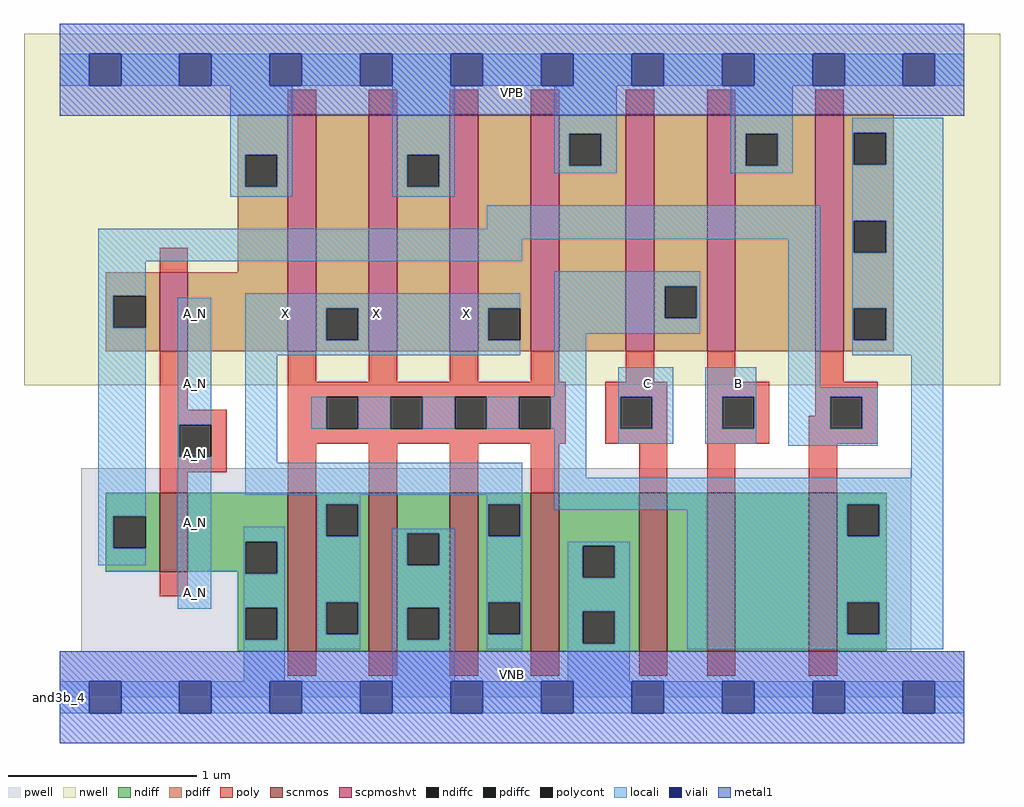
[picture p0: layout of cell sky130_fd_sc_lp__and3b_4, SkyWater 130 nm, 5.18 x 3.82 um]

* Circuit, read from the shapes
.subckt sky130_fd_sc_lp__and3b_4 A_N B C VGND VNB VPB VPWR X
XM1 VGND A_N n1 VNB sky130_fd_pr__nfet_01v8 w=0.42 l=0.15
XM2 X n2 VGND VNB sky130_fd_pr__nfet_01v8 w=0.84 l=0.15 m=4
XM3 n3 C VGND VNB sky130_fd_pr__nfet_01v8 w=0.84 l=0.15
XM4 n4 B n3 VNB sky130_fd_pr__nfet_01v8 w=0.84 l=0.15
XM5 n2 n1 n4 VNB sky130_fd_pr__nfet_01v8 w=0.84 l=0.15
XM6 VPWR A_N n1 VPB sky130_fd_pr__pfet_01v8_hvt w=0.42 l=0.15
XM7 X n2 VPWR VPB sky130_fd_pr__pfet_01v8_hvt w=1.26 l=0.15 m=4
XM8 n2 C VPWR VPB sky130_fd_pr__pfet_01v8_hvt w=1.26 l=0.15
XM9 VPWR B n2 VPB sky130_fd_pr__pfet_01v8_hvt w=1.26 l=0.15
XM10 n2 n1 VPWR VPB sky130_fd_pr__pfet_01v8_hvt w=1.26 l=0.15
.ends

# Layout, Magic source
magic
tech sky130A
magscale 1 2
<< nwell >>
rect -38 331 998 704
<< pwell >>
rect 23 49 904 243
rect 0 0 960 49
<< scnmos >>
rect 106 133 136 217
rect 242 49 272 217
rect 328 49 358 217
rect 414 49 444 217
rect 500 49 530 217
rect 615 49 645 217
rect 687 49 717 217
rect 795 49 825 217
<< scpmoshvt >>
rect 106 367 136 451
rect 242 367 272 619
rect 328 367 358 619
rect 414 367 444 619
rect 500 367 530 619
rect 601 367 631 619
rect 687 367 717 619
rect 802 367 832 619
<< ndiff >>
rect 49 192 106 217
rect 49 158 57 192
rect 91 158 106 192
rect 49 133 106 158
rect 136 165 242 217
rect 136 133 197 165
rect 189 131 197 133
rect 231 131 242 165
rect 189 95 242 131
rect 189 61 197 95
rect 231 61 242 95
rect 189 49 242 61
rect 272 205 328 217
rect 272 171 283 205
rect 317 171 328 205
rect 272 101 328 171
rect 272 67 283 101
rect 317 67 328 101
rect 272 49 328 67
rect 358 174 414 217
rect 358 140 369 174
rect 403 140 414 174
rect 358 95 414 140
rect 358 61 369 95
rect 403 61 414 95
rect 358 49 414 61
rect 444 205 500 217
rect 444 171 455 205
rect 489 171 500 205
rect 444 101 500 171
rect 444 67 455 101
rect 489 67 500 101
rect 444 49 500 67
rect 530 161 615 217
rect 530 127 555 161
rect 589 127 615 161
rect 530 91 615 127
rect 530 57 555 91
rect 589 57 615 91
rect 530 49 615 57
rect 645 49 687 217
rect 717 49 795 217
rect 825 205 878 217
rect 825 171 836 205
rect 870 171 878 205
rect 825 101 878 171
rect 825 67 836 101
rect 870 67 878 101
rect 825 49 878 67
<< pdiff >>
rect 189 576 242 619
rect 189 542 197 576
rect 231 542 242 576
rect 189 451 242 542
rect 49 426 106 451
rect 49 392 57 426
rect 91 392 106 426
rect 49 367 106 392
rect 136 367 242 451
rect 272 413 328 619
rect 272 379 283 413
rect 317 379 328 413
rect 272 367 328 379
rect 358 576 414 619
rect 358 542 369 576
rect 403 542 414 576
rect 358 367 414 542
rect 444 413 500 619
rect 444 379 455 413
rect 489 379 500 413
rect 444 367 500 379
rect 530 598 601 619
rect 530 564 541 598
rect 575 564 601 598
rect 530 367 601 564
rect 631 436 687 619
rect 631 402 642 436
rect 676 402 687 436
rect 631 367 687 402
rect 717 598 802 619
rect 717 564 728 598
rect 762 564 802 598
rect 717 367 802 564
rect 832 599 885 619
rect 832 565 843 599
rect 877 565 885 599
rect 832 506 885 565
rect 832 472 843 506
rect 877 472 885 506
rect 832 413 885 472
rect 832 379 843 413
rect 877 379 885 413
rect 832 367 885 379
<< ndiffc >>
rect 57 158 91 192
rect 197 131 231 165
rect 197 61 231 95
rect 283 171 317 205
rect 283 67 317 101
rect 369 140 403 174
rect 369 61 403 95
rect 455 171 489 205
rect 455 67 489 101
rect 555 127 589 161
rect 555 57 589 91
rect 836 171 870 205
rect 836 67 870 101
<< pdiffc >>
rect 197 542 231 576
rect 57 392 91 426
rect 283 379 317 413
rect 369 542 403 576
rect 455 379 489 413
rect 541 564 575 598
rect 642 402 676 436
rect 728 564 762 598
rect 843 565 877 599
rect 843 472 877 506
rect 843 379 877 413
<< poly >>
rect 242 619 272 645
rect 328 619 358 645
rect 414 619 444 645
rect 500 619 530 645
rect 601 619 631 645
rect 687 619 717 645
rect 802 619 832 645
rect 106 451 136 477
rect 106 305 136 367
rect 242 335 272 367
rect 328 335 358 367
rect 414 335 444 367
rect 500 335 530 367
rect 601 335 631 367
rect 687 335 717 367
rect 802 335 832 367
rect 242 319 537 335
rect 106 289 177 305
rect 106 255 127 289
rect 161 255 177 289
rect 106 239 177 255
rect 242 285 283 319
rect 317 285 351 319
rect 385 285 419 319
rect 453 285 487 319
rect 521 285 537 319
rect 242 269 537 285
rect 579 319 645 335
rect 579 285 595 319
rect 629 285 645 319
rect 579 269 645 285
rect 106 217 136 239
rect 242 217 272 269
rect 328 217 358 269
rect 414 217 444 269
rect 500 217 530 269
rect 615 217 645 269
rect 687 319 753 335
rect 687 285 703 319
rect 737 285 753 319
rect 802 319 868 335
rect 802 299 818 319
rect 687 269 753 285
rect 795 285 818 299
rect 852 285 868 319
rect 795 269 868 285
rect 687 217 717 269
rect 795 217 825 269
rect 106 107 136 133
rect 242 23 272 49
rect 328 23 358 49
rect 414 23 444 49
rect 500 23 530 49
rect 615 23 645 49
rect 687 23 717 49
rect 795 23 825 49
<< polycont >>
rect 127 255 161 289
rect 283 285 317 319
rect 351 285 385 319
rect 419 285 453 319
rect 487 285 521 319
rect 595 285 629 319
rect 703 285 737 319
rect 818 285 852 319
<< locali >>
rect 0 649 31 683
rect 65 649 127 683
rect 161 649 223 683
rect 257 649 319 683
rect 353 649 415 683
rect 449 649 511 683
rect 545 649 607 683
rect 641 649 703 683
rect 737 649 799 683
rect 833 649 895 683
rect 929 649 960 683
rect 181 576 247 649
rect 181 542 197 576
rect 231 542 247 576
rect 181 531 247 542
rect 353 576 419 649
rect 353 542 369 576
rect 403 542 419 576
rect 525 598 591 649
rect 525 564 541 598
rect 575 564 591 598
rect 525 556 591 564
rect 712 598 778 649
rect 712 564 728 598
rect 762 564 778 598
rect 712 556 778 564
rect 841 599 938 615
rect 841 565 843 599
rect 877 565 938 599
rect 353 531 419 542
rect 453 497 807 522
rect 41 486 807 497
rect 41 463 491 486
rect 41 426 91 463
rect 525 436 680 452
rect 41 392 57 426
rect 41 192 91 392
rect 41 158 57 192
rect 41 140 91 158
rect 125 289 161 424
rect 125 255 127 289
rect 125 94 161 255
rect 197 413 489 429
rect 197 379 283 413
rect 317 379 455 413
rect 197 363 489 379
rect 525 402 642 436
rect 676 402 680 436
rect 525 386 680 402
rect 197 249 231 363
rect 525 319 559 386
rect 267 285 283 319
rect 317 285 351 319
rect 385 285 419 319
rect 453 285 487 319
rect 521 285 559 319
rect 197 215 491 249
rect 273 205 319 215
rect 195 165 239 181
rect 195 131 197 165
rect 231 131 239 165
rect 195 95 239 131
rect 195 61 197 95
rect 231 61 239 95
rect 195 17 239 61
rect 273 171 283 205
rect 317 171 319 205
rect 453 205 491 215
rect 273 101 319 171
rect 273 67 283 101
rect 317 67 319 101
rect 273 51 319 67
rect 353 174 419 179
rect 353 140 369 174
rect 403 140 419 174
rect 353 95 419 140
rect 353 61 369 95
rect 403 61 419 95
rect 353 17 419 61
rect 453 171 455 205
rect 489 171 491 205
rect 525 233 559 285
rect 593 319 651 350
rect 593 285 595 319
rect 629 285 651 319
rect 593 269 651 285
rect 685 319 739 350
rect 685 285 703 319
rect 737 285 739 319
rect 685 269 739 285
rect 773 329 807 486
rect 841 506 938 565
rect 841 472 843 506
rect 877 472 938 506
rect 841 413 938 472
rect 841 379 843 413
rect 877 379 938 413
rect 841 363 938 379
rect 773 319 868 329
rect 773 285 818 319
rect 852 285 868 319
rect 773 267 868 285
rect 904 233 938 363
rect 525 205 938 233
rect 525 199 836 205
rect 453 101 491 171
rect 666 171 836 199
rect 870 171 938 205
rect 453 67 455 101
rect 489 67 491 101
rect 453 51 491 67
rect 539 161 605 165
rect 539 127 555 161
rect 589 127 605 161
rect 539 91 605 127
rect 539 57 555 91
rect 589 57 605 91
rect 539 17 605 57
rect 666 101 938 171
rect 666 67 836 101
rect 870 67 938 101
rect 666 51 938 67
rect 0 -17 31 17
rect 65 -17 127 17
rect 161 -17 223 17
rect 257 -17 319 17
rect 353 -17 415 17
rect 449 -17 511 17
rect 545 -17 607 17
rect 641 -17 703 17
rect 737 -17 799 17
rect 833 -17 895 17
rect 929 -17 960 17
<< viali >>
rect 31 649 65 683
rect 127 649 161 683
rect 223 649 257 683
rect 319 649 353 683
rect 415 649 449 683
rect 511 649 545 683
rect 607 649 641 683
rect 703 649 737 683
rect 799 649 833 683
rect 895 649 929 683
rect 31 -17 65 17
rect 127 -17 161 17
rect 223 -17 257 17
rect 319 -17 353 17
rect 415 -17 449 17
rect 511 -17 545 17
rect 607 -17 641 17
rect 703 -17 737 17
rect 799 -17 833 17
rect 895 -17 929 17
<< metal1 >>
rect 0 683 960 715
rect 0 649 31 683
rect 65 649 127 683
rect 161 649 223 683
rect 257 649 319 683
rect 353 649 415 683
rect 449 649 511 683
rect 545 649 607 683
rect 641 649 703 683
rect 737 649 799 683
rect 833 649 895 683
rect 929 649 960 683
rect 0 617 960 649
rect 0 17 960 49
rect 0 -17 31 17
rect 65 -17 127 17
rect 161 -17 223 17
rect 257 -17 319 17
rect 353 -17 415 17
rect 449 -17 511 17
rect 545 -17 607 17
rect 641 -17 703 17
rect 737 -17 799 17
rect 833 -17 895 17
rect 929 -17 960 17
rect 0 -49 960 -17
<< labels >>
flabel pwell s 0 0 960 49 0 FreeSans 200 0 0 0 VNB
port 5 nsew ground bidirectional
flabel nwell s 0 617 960 666 0 FreeSans 200 0 0 0 VPB
port 6 nsew power bidirectional
rlabel comment s 0 0 0 0 4 and3b_4
flabel metal1 s 0 617 960 666 0 FreeSans 340 0 0 0 VPWR
port 7 nsew power bidirectional
flabel metal1 s 0 0 960 49 0 FreeSans 340 0 0 0 VGND
port 4 nsew ground bidirectional
flabel locali s 703 316 737 350 0 FreeSans 340 0 0 0 B
port 2 nsew signal input
flabel locali s 607 316 641 350 0 FreeSans 340 0 0 0 C
port 3 nsew signal input
flabel locali s 127 94 161 128 0 FreeSans 340 0 0 0 A_N
port 1 nsew signal input
flabel locali s 127 168 161 202 0 FreeSans 340 0 0 0 A_N
port 1 nsew signal input
flabel locali s 127 242 161 276 0 FreeSans 340 0 0 0 A_N
port 1 nsew signal input
flabel locali s 127 316 161 350 0 FreeSans 340 0 0 0 A_N
port 1 nsew signal input
flabel locali s 127 390 161 424 0 FreeSans 340 0 0 0 A_N
port 1 nsew signal input
flabel locali s 223 390 257 424 0 FreeSans 340 0 0 0 X
port 8 nsew signal output
flabel locali s 319 390 353 424 0 FreeSans 340 0 0 0 X
port 8 nsew signal output
flabel locali s 415 390 449 424 0 FreeSans 340 0 0 0 X
port 8 nsew signal output
<< properties >>
string LEFsite unit
string LEFclass CORE
string FIXED_BBOX 0 0 960 666
string GDS_FILE $PDKPATH/libs.ref/sky130_fd_sc_lp/gds/sky130_fd_sc_lp.gds
string LEFsymmetry X Y R90
string GDS_END 6402480
string GDS_START 6394780
<< end >>
